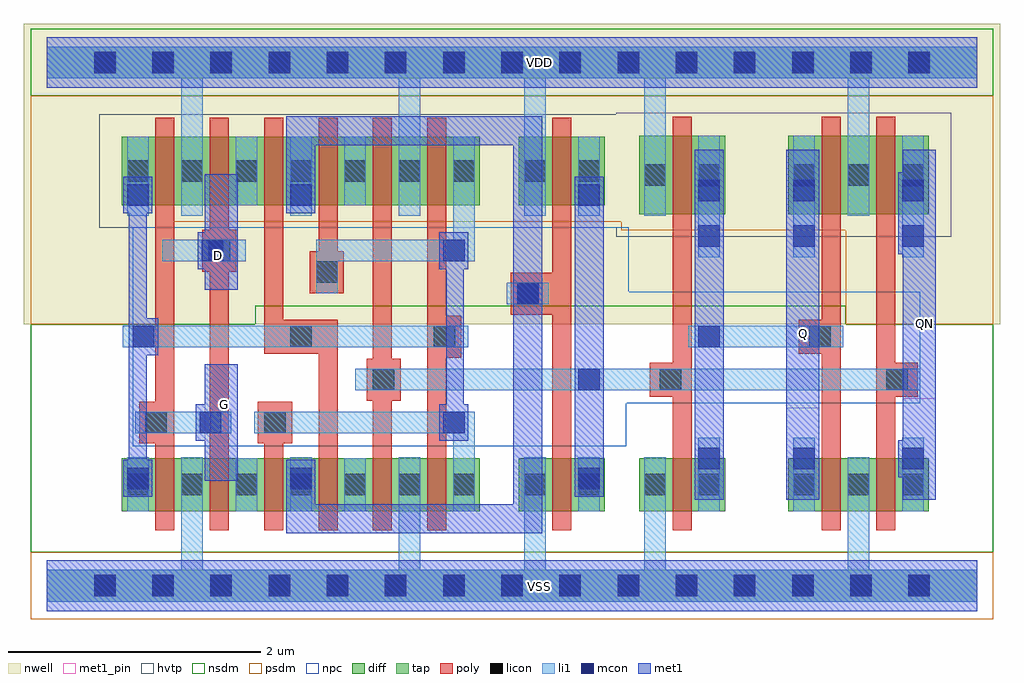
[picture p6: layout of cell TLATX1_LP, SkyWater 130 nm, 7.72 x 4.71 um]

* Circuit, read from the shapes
.subckt TLATX1_LP D G Q QN VDD VSS
XM1 VSS G n1 VSS sky130_fd_pr__nfet_01v8 w=0.42 l=0.15
XM2 n2 D VSS VSS sky130_fd_pr__nfet_01v8 w=0.42 l=0.15
XM3 n3 n4 n2 VSS sky130_fd_pr__nfet_01v8 w=0.42 l=0.15
XM4 n5 n1 n3 VSS sky130_fd_pr__nfet_01v8 w=0.42 l=0.15
XM5 VSS n6 n5 VSS sky130_fd_pr__nfet_01v8 w=0.42 l=0.15
XM6 n4 n1 VSS VSS sky130_fd_pr__nfet_01v8 w=0.42 l=0.15
XM7 n6 n3 VSS VSS sky130_fd_pr__nfet_01v8 w=0.42 l=0.15
XM8 n7 n6 VSS VSS sky130_fd_pr__nfet_01v8 w=0.42 l=0.15
XM9 VSS n7 Q VSS sky130_fd_pr__nfet_01v8 w=0.42 l=0.15
XM10 QN n6 VSS VSS sky130_fd_pr__nfet_01v8 w=0.42 l=0.15
XM11 VDD G n1 VDD sky130_fd_pr__pfet_01v8_hvt w=0.54 l=0.15
XM12 n8 D VDD VDD sky130_fd_pr__pfet_01v8_hvt w=0.54 l=0.15
XM13 n3 n1 n8 VDD sky130_fd_pr__pfet_01v8_hvt w=0.54 l=0.15
XM14 n9 n4 n3 VDD sky130_fd_pr__pfet_01v8_hvt w=0.54 l=0.15
XM15 VDD n6 n9 VDD sky130_fd_pr__pfet_01v8_hvt w=0.54 l=0.15
XM16 n4 n1 VDD VDD sky130_fd_pr__pfet_01v8_hvt w=0.54 l=0.15
XM17 n6 n3 VDD VDD sky130_fd_pr__pfet_01v8_hvt w=0.54 l=0.15
XM18 n7 n6 VDD VDD sky130_fd_pr__pfet_01v8_hvt w=0.62 l=0.15
XM19 VDD n7 Q VDD sky130_fd_pr__pfet_01v8_hvt w=0.62 l=0.15
XM20 QN n6 VDD VDD sky130_fd_pr__pfet_01v8_hvt w=0.62 l=0.15
.ends

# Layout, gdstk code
from math import pi, radians
import gdstk
lib = gdstk.Library(unit=1e-6, precision=1e-09)
def R(c, l, rs):  # rectangles x0, y0, x1, y1
    for r in rs: c.add(gdstk.rectangle(r[:2], r[2:], *l))
def A(c, l, x, y, w, h, nx, ny, dx, dy):  # array of equal rectangles
    R(c, l, [(x+i*dx, y+j*dy, x+i*dx+w, y+j*dy+h) for i in range(nx) for j in range(ny)])
def P(c, l, *ps):  # polygons
    for p in ps: c.add(gdstk.Polygon(p, *l))
nwell = (64, 20)
diff = (65, 20)
tap = (65, 44)
poly = (66, 20)
licon = (66, 44)
li1 = (67, 20)
mcon = (67, 44)
met1_pin = (68, 16)
met1 = (68, 20)
hvtp = (78, 44)
nsdm = (93, 44)
psdm = (94, 20)
npc = (95, 20)

pyl1con_c_cdns_758729379 = lib.new_cell('PYL1CON_C_CDNS_758729379653')
R(pyl1con_c_cdns_758729379, poly, [(-0.135,-0.165,0.135,0.165)])
R(pyl1con_c_cdns_758729379, licon, [(-0.085,-0.085,0.085,0.085)])
R(pyl1con_c_cdns_758729379, npc, [(-0.185,-0.185,0.185,0.185)])

c_pyl1con_c_cdns_758729379 = lib.new_cell('PYL1CON_C_CDNS_7587293796516')
R(c_pyl1con_c_cdns_758729379, poly, [(-0.135,-0.29,0.135,0.29)])
R(c_pyl1con_c_cdns_758729379, licon, [(-0.085,-0.085,0.085,0.085)])
R(c_pyl1con_c_cdns_758729379, npc, [(-0.185,-0.185,0.185,0.185)])

l1m1_c_cdns_758729379655 = lib.new_cell('L1M1_C_CDNS_758729379655')
R(l1m1_c_cdns_758729379655, li1, [(-0.085,-0.165,0.085,0.165)])
R(l1m1_c_cdns_758729379655, mcon, [(-0.085,-0.085,0.085,0.085)])
R(l1m1_c_cdns_758729379655, met1, [(-0.115,-0.145,0.115,0.145)])

l1m1_c_cdns_758729379654 = lib.new_cell('L1M1_C_CDNS_758729379654')
R(l1m1_c_cdns_758729379654, li1, [(-0.165,-0.085,0.165,0.085)])
R(l1m1_c_cdns_758729379654, mcon, [(-0.085,-0.085,0.085,0.085)])
R(l1m1_c_cdns_758729379654, met1, [(-0.115,-0.145,0.115,0.145)])

l1m1_c_cdns_758729379659 = lib.new_cell('L1M1_C_CDNS_758729379659')
R(l1m1_c_cdns_758729379659, li1, [(-0.085,-0.345,0.085,0.345)])
R(l1m1_c_cdns_758729379659, mcon, [(-0.085,-0.265,0.085,-0.095), (-0.085,0.095,0.085,0.265)])
R(l1m1_c_cdns_758729379659, met1, [(-0.115,-0.325,0.115,0.325)])

tlatx1_lp = lib.new_cell('TLATX1_LP')
R(tlatx1_lp, nwell, [(-0.18,2.07,7.54,4.445)])
R(tlatx1_lp, diff, [(0.595,0.59,3.425,1.01), (3.735,0.59,4.415,1.01), (4.685,0.59,5.365,1.01), (5.865,0.59,6.975,1.01), (4.685,2.94,5.365,3.56), (5.865,2.94,6.975,3.56), (0.595,3.01,3.425,3.55), (3.735,3.01,4.415,3.55)])
R(tlatx1_lp, poly, [(0.86,0.44,1.01,3.7), (1.29,0.44,1.44,3.7), (1.72,0.44,1.87,1.16), (2.58,0.44,2.73,3.7), (3.01,0.44,3.16,3.7), (4.95,0.44,5.1,3.71), (6.13,0.44,6.28,3.71), (6.56,0.44,6.71,3.71), (2.15,2.51,2.3,3.7)])
P(tlatx1_lp, poly, [(2.3,2.045),(1.87,2.045),(1.87,3.7),(1.72,3.7),(1.72,1.895),(2.15,1.895),(2.15,0.44),(2.3,0.44)],
  [(4.15,3.7),(4,3.7),(4,2.475),(3.67,2.475),(3.67,2.145),(4,2.145),(4,0.44),(4.15,0.44)])
A(tlatx1_lp, licon, 0.375, -0.085, 0.17, 0.17, 15, 2, 0.46, 4.14)
A(tlatx1_lp, licon, 0.635, 0.715, 0.17, 0.17, 7, 2, 0.43, 2.48)
A(tlatx1_lp, licon, 5.905, 0.715, 0.17, 0.17, 3, 2, 0.43, 2.45)
R(tlatx1_lp, licon, [(3.775,0.715,3.945,0.885), (4.205,0.715,4.375,0.885), (4.725,0.715,4.895,0.885), (5.155,0.715,5.325,0.885), (4.725,3.165,4.895,3.335), (5.155,3.165,5.325,3.335), (3.775,3.195,3.945,3.365), (4.205,3.195,4.375,3.365)])
A(tlatx1_lp, li1, 1.495, 0.59, 0.17, 0.42, 3, 1, 0.43, 0)
A(tlatx1_lp, li1, 1.495, 3.01, 0.17, 0.54, 3, 1, 0.43, 0)
R(tlatx1_lp, li1, [(0.635,0.59,0.805,1.01), (4.205,0.59,4.375,1.01), (5.155,0.59,5.325,1.01), (5.905,0.59,6.075,1.01), (6.765,0.59,6.935,1.01), (5.155,2.94,5.325,3.56), (5.905,2.94,6.075,3.56), (6.765,2.94,6.935,3.56), (0.635,3.01,0.805,3.55), (4.205,3.01,4.375,3.55)])
P(tlatx1_lp, li1, [(3.385,1.29),(3.285,1.29),(3.285,1.375),(1.64,1.375),(1.64,1.205),(3.215,1.205),(3.215,0.59),(3.385,0.59)],
  [(3.385,3.55),(3.215,3.55),(3.215,2.735),(2.13,2.735),(2.13,2.315),(2.3,2.315),(2.3,2.565),(3.25,2.565),(3.25,2.65),(3.385,2.65)],
  [(7.36,4.265),(0,4.265),(0,4.015),(1.065,4.015),(1.065,2.925),(1.235,2.925),(1.235,4.015),(2.785,4.015),(2.785,2.925),(2.955,2.925),(2.955,4.015),(3.775,4.015),(3.775,2.925),(3.945,2.925),(3.945,4.015),(4.725,4.015),(4.725,2.925),(4.895,2.925),(4.895,4.015),(6.335,4.015),(6.335,2.925),(6.505,2.925),(6.505,4.015),(7.36,4.015)],
  [(7.36,0.125),(6.505,0.125),(6.505,1.015),(6.335,1.015),(6.335,0.125),(4.895,0.125),(4.895,1.015),(4.725,1.015),(4.725,0.125),(3.945,0.125),(3.945,1.015),(3.775,1.015),(3.775,0.125),(2.955,0.125),(2.955,1.015),(2.785,1.015),(2.785,0.125),(1.235,0.125),(1.235,1.015),(1.065,1.015),(1.065,0.125),(0,0.125),(0,-0.125),(7.36,-0.125)])
A(tlatx1_lp, mcon, 0.375, -0.085, 0.17, 0.17, 15, 2, 0.46, 4.14)
R(tlatx1_lp, met1_pin, [(1.25,0.83,1.51,1.75), (5.85,1.405,6.11,3.445), (6.77,1.48,7.03,3.45), (1.25,2.34,1.51,3.255)])
R(tlatx1_lp, met1, [(0,-0.2,7.36,0.2), (0,3.94,7.36,4.34)])
P(tlatx1_lp, hvtp, [(7.155,3.74),(4.505,3.74),(4.505,3.73),(0.415,3.73),(0.415,2.83),(4.505,2.83),(4.505,2.76),(7.155,2.76)])
R(tlatx1_lp, nsdm, [(-0.125,3.875,7.485,4.405)])
P(tlatx1_lp, nsdm, [(7.485,2.07),(6.32,2.07),(6.32,2.215),(1.65,2.215),(1.65,2.07),(-0.125,2.07),(-0.125,0.265),(7.485,0.265)])
R(tlatx1_lp, psdm, [(-0.125,-0.265,7.485,0.265)])
P(tlatx1_lp, psdm, [(7.485,3.875),(-0.125,3.875),(-0.125,2.07),(1.01,2.07),(1.01,2.88),(4.545,2.88),(4.545,2.81),(6.32,2.81),(6.32,2.07),(7.485,2.07)])
P(tlatx1_lp, npc, [(6.91,2.325),(4.605,2.325),(4.605,2.835),(0.68,2.835),(0.68,1.105),(4.585,1.105),(4.585,1.445),(6.91,1.445)])
tlatx1_lp.add(gdstk.FlexPath([(0.65,1.97),(3.335,1.97)], 0.17, ends="flush", simple_path=True, layer=67, datatype=20))  # li1
tlatx1_lp.add(gdstk.FlexPath([(2.44,1.63),(6.91,1.63)], 0.17, ends="flush", simple_path=True, layer=67, datatype=20))  # li1
tlatx1_lp.add(gdstk.FlexPath([(0.915,2.65),(1.575,2.65)], 0.17, ends="flush", simple_path=True, layer=67, datatype=20))  # li1
tlatx1_lp.add(gdstk.FlexPath([(0.7,1.29),(1.245,1.29)], 0.17, ends="flush", simple_path=True, layer=67, datatype=20))  # li1
tlatx1_lp.add(gdstk.FlexPath([(5.25,1.97),(6.3,1.97)], 0.17, ends="flush", simple_path=True, layer=67, datatype=20))  # li1
tlatx1_lp.add(gdstk.FlexPath([(0,4.14),(7.36,4.14)], 0.25, ends="flush", simple_path=True, layer=65, datatype=44))  # tap
tlatx1_lp.add(gdstk.FlexPath([(0,0),(7.36,0)], 0.25, ends="flush", simple_path=True, layer=65, datatype=44))  # tap
tlatx1_lp.add(gdstk.FlexPath([(2.01,3.09),(2.01,3.6),(3.805,3.6),(3.805,0.53),(2.01,0.53),(2.01,0.85)], 0.23, ends="flush", simple_path=True, layer=68, datatype=20))  # met1
tlatx1_lp.add(gdstk.FlexPath([(3.23,2.72),(3.23,1.225)], 0.14, ends="flush", simple_path=True, layer=68, datatype=20))  # met1
tlatx1_lp.add(gdstk.FlexPath([(4.29,0.705),(4.29,3.235)], 0.23, ends="flush", simple_path=True, layer=68, datatype=20))  # met1
tlatx1_lp.add(gdstk.FlexPath([(1.38,2.34),(1.38,3.255)], 0.26, ends="flush", simple_path=True, layer=68, datatype=20))  # met1
tlatx1_lp.add(gdstk.FlexPath([(0.72,0.705),(0.72,3.235)], 0.14, ends="flush", simple_path=True, layer=68, datatype=20))  # met1
tlatx1_lp.add(gdstk.FlexPath([(1.38,0.83),(1.38,1.75)], 0.26, ends="flush", simple_path=True, layer=68, datatype=20))  # met1
tlatx1_lp.add(gdstk.FlexPath([(5.98,0.68),(5.98,3.45)], 0.26, ends="flush", simple_path=True, layer=68, datatype=20))  # met1
tlatx1_lp.add(gdstk.FlexPath([(6.9,0.68),(6.9,3.45)], 0.26, ends="flush", simple_path=True, layer=68, datatype=20))  # met1
tlatx1_lp.add(gdstk.FlexPath([(5.24,0.68),(5.24,3.45)], 0.23, ends="flush", simple_path=True, layer=68, datatype=20))  # met1
tlatx1_lp.add(gdstk.FlexPath([(0,4.14),(7.36,4.14)], 0.4, ends="flush", simple_path=True, layer=68, datatype=16))  # met1_pin
tlatx1_lp.add(gdstk.FlexPath([(0,0),(7.36,0)], 0.4, ends="flush", simple_path=True, layer=68, datatype=16))  # met1_pin
tlatx1_lp.add(gdstk.Reference(pyl1con_c_cdns_758729379, (4.935,1.63), rotation=pi/2, x_reflection=True))
tlatx1_lp.add(gdstk.Reference(pyl1con_c_cdns_758729379, (3.145,1.97)))
tlatx1_lp.add(gdstk.Reference(pyl1con_c_cdns_758729379, (1.805,1.29), x_reflection=True))
tlatx1_lp.add(gdstk.Reference(pyl1con_c_cdns_758729379, (6.725,1.63), rotation=pi/2, x_reflection=True))
tlatx1_lp.add(gdstk.Reference(pyl1con_c_cdns_758729379, (6.115,1.97), rotation=pi/2, x_reflection=True))
tlatx1_lp.add(gdstk.Reference(pyl1con_c_cdns_758729379, (2.215,2.48), rotation=pi))
tlatx1_lp.add(gdstk.Reference(pyl1con_c_cdns_758729379, (1.365,2.65), x_reflection=True))
tlatx1_lp.add(gdstk.Reference(pyl1con_c_cdns_758729379, (0.865,1.29), rotation=pi))
tlatx1_lp.add(gdstk.Reference(pyl1con_c_cdns_758729379, (3.805,2.31), x_reflection=True))
tlatx1_lp.add(gdstk.Reference(pyl1con_c_cdns_758729379, (2.665,1.63), rotation=pi))
tlatx1_lp.add(gdstk.Reference(c_pyl1con_c_cdns_758729379, (2.01,1.97), rotation=pi/2, x_reflection=True))
tlatx1_lp.add(gdstk.Reference(l1m1_c_cdns_758729379655, (2.01,3.09), rotation=pi, x_reflection=True))
tlatx1_lp.add(gdstk.Reference(l1m1_c_cdns_758729379655, (2.01,0.85), rotation=pi, x_reflection=True))
tlatx1_lp.add(gdstk.Reference(l1m1_c_cdns_758729379655, (4.29,0.85), rotation=pi, x_reflection=True))
tlatx1_lp.add(gdstk.Reference(l1m1_c_cdns_758729379655, (4.29,3.09), rotation=pi, x_reflection=True))
tlatx1_lp.add(gdstk.Reference(l1m1_c_cdns_758729379655, (0.72,0.85), rotation=pi, x_reflection=True))
tlatx1_lp.add(gdstk.Reference(l1m1_c_cdns_758729379655, (0.72,3.09), rotation=pi, x_reflection=True))
tlatx1_lp.add(gdstk.Reference(l1m1_c_cdns_758729379655, (5.99,1.005)))
tlatx1_lp.add(gdstk.Reference(l1m1_c_cdns_758729379655, (6.85,1.005)))
tlatx1_lp.add(gdstk.Reference(l1m1_c_cdns_758729379655, (5.24,1.005)))
tlatx1_lp.add(gdstk.Reference(l1m1_c_cdns_758729379654, (3.22,2.65)))
tlatx1_lp.add(gdstk.Reference(l1m1_c_cdns_758729379654, (4.29,1.63)))
tlatx1_lp.add(gdstk.Reference(l1m1_c_cdns_758729379654, (1.31,2.65), x_reflection=True))
tlatx1_lp.add(gdstk.Reference(l1m1_c_cdns_758729379654, (3.22,1.29)))
tlatx1_lp.add(gdstk.Reference(l1m1_c_cdns_758729379654, (1.295,1.29), x_reflection=True))
tlatx1_lp.add(gdstk.Reference(l1m1_c_cdns_758729379654, (0.765,1.97), rotation=pi, x_reflection=True))
tlatx1_lp.add(gdstk.Reference(l1m1_c_cdns_758729379654, (3.805,2.31)))
tlatx1_lp.add(gdstk.Reference(l1m1_c_cdns_758729379654, (5.24,1.97), x_reflection=True))
tlatx1_lp.add(gdstk.Reference(l1m1_c_cdns_758729379659, (5.99,2.945)))
tlatx1_lp.add(gdstk.Reference(l1m1_c_cdns_758729379659, (6.85,2.945)))
tlatx1_lp.add(gdstk.Reference(l1m1_c_cdns_758729379659, (5.24,2.945)))
tlatx1_lp.add(gdstk.Label('VDD', (3.9,4.14), layer=68, texttype=5))
tlatx1_lp.add(gdstk.Label('VSS', (3.9,-0.005), layer=68, texttype=5))
tlatx1_lp.add(gdstk.Label('G', (1.402,1.434), layer=68, texttype=5))
tlatx1_lp.add(gdstk.Label('Q', (5.982,1.999), layer=68, texttype=5))
tlatx1_lp.add(gdstk.Label('QN', (6.942,2.074), layer=68, texttype=5))
tlatx1_lp.add(gdstk.Label('D', (1.355,2.61), layer=68, texttype=5))

lib.write_gds('TLATX1_LP.gds')
